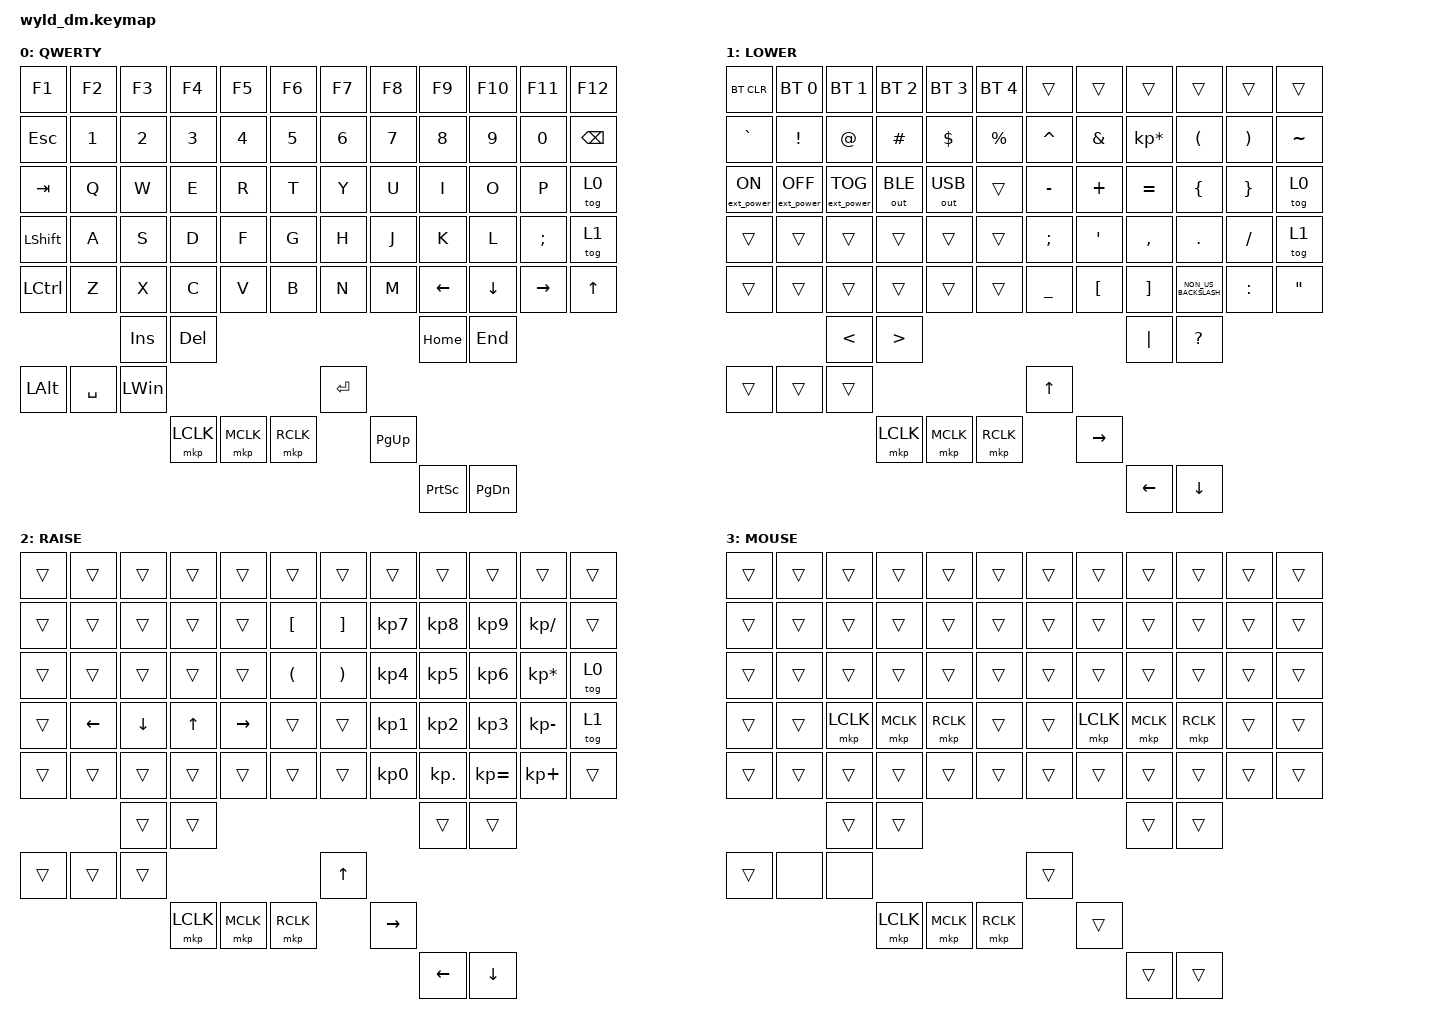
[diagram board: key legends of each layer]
/*
 * Copyright (c) 2020 The ZMK Contributors
 *
 * SPDX-License-Identifier: MIT
 */
//#include <dt-bindings/led/led.h>

#include <behaviors/mouse_keys.dtsi>
#include <behaviors.dtsi>
#include <dt-bindings/zmk/bt.h>
#include <dt-bindings/zmk/ext_power.h>
#include <dt-bindings/zmk/keys.h>
#include <dt-bindings/zmk/mouse.h>
#include <dt-bindings/zmk/outputs.h>

//#include <dt-bindings/zmk/rgb.h>
// triggering build

#define QWERTY 0
#define LOWER 1
#define RAISE 2
#define MOUSE 3

/ {
    keymap {
        compatible = "zmk,keymap";

        default_layer {
            display-name = "QWERTY";
            bindings = <
&kp F1          &kp F2     &kp F3        &kp F4      &kp F5     &kp F6             &kp F7     &kp F8       &kp F9           &kp F10        &kp F11    &kp F12
&kp ESCAPE      &kp N1     &kp N2        &kp N3      &kp N4     &kp N5             &kp N6     &kp N7       &kp N8           &kp N9         &kp N0     &kp BACKSPACE
&kp TAB         &kp Q      &kp W         &kp E       &kp R      &kp T              &kp Y      &kp U        &kp I            &kp O          &kp P      &tog 0
&kp LEFT_SHIFT  &kp A      &kp S         &kp D       &kp F      &kp G              &kp H      &kp J        &kp K            &kp L          &kp SEMI   &tog 1
&kp LCTRL       &kp Z      &kp X         &kp C       &kp V      &kp B              &kp N      &kp M        &kp LEFT         &kp DOWN       &kp RIGHT  &kp UP_ARROW
                           &kp INSERT    &kp DELETE                                                        &kp HOME         &kp END
&kp LEFT_ALT    &kp SPACE  &kp LEFT_WIN                                            &kp ENTER
                                         &mkp LCLK   &mkp MCLK  &mkp RCLK                     &kp PAGE_UP
                                                                                                           &kp PRINTSCREEN  &kp PAGE_DOWN
            >;
        };

        lower_layer {
            display-name = "LOWER";
            bindings = <
&bt BT_CLR        &bt BT_SEL 0       &bt BT_SEL 1       &bt BT_SEL 2      &bt BT_SEL 3  &bt BT_SEL 4          &trans          &trans            &trans             &trans                &trans     &trans
&kp GRAVE         &kp EXCLAMATION    &kp AT_SIGN        &kp HASH          &kp DOLLAR    &kp PERCENT           &kp CARET       &kp AMPS          &kp KP_MULTIPLY    &kp LPAR              &kp RPAR   &kp TILDE
&ext_power EP_ON  &ext_power EP_OFF  &ext_power EP_TOG  &out OUT_BLE      &out OUT_USB  &trans                &kp MINUS       &kp PLUS          &kp EQUAL          &kp LBRC              &kp RBRC   &tog 0
&trans            &trans             &trans             &trans            &trans        &trans                &kp SEMICOLON   &kp SQT           &kp COMMA          &kp PERIOD            &kp SLASH  &tog 1
&trans            &trans             &trans             &trans            &trans        &trans                &kp UNDERSCORE  &kp LEFT_BRACKET  &kp RIGHT_BRACKET  &kp NON_US_BACKSLASH  &kp COLON  &kp DOUBLE_QUOTES
                                     &kp LESS_THAN      &kp GREATER_THAN                                                                        &kp PIPE           &kp QUESTION
&trans            &trans             &trans                                                                   &kp UP_ARROW
                                                        &mkp LCLK         &mkp MCLK     &mkp RCLK                             &kp RIGHT
                                                                                                                                                &kp LEFT           &kp DOWN
            >;
        };

        raise_layer {
            display-name = "RAISE";
            bindings = <
&trans  &trans    &trans    &trans     &trans     &trans             &trans        &trans     &trans      &trans        &trans           &trans
&trans  &trans    &trans    &trans     &trans     &kp LBKT           &kp RBKT      &kp KP_N7  &kp KP_N8   &kp KP_N9     &kp KP_DIVIDE    &trans
&trans  &trans    &trans    &trans     &trans     &kp LPAR           &kp RPAR      &kp KP_N4  &kp KP_N5   &kp KP_N6     &kp KP_MULTIPLY  &tog 0
&trans  &kp LEFT  &kp DOWN  &kp UP     &kp RIGHT  &trans             &trans        &kp KP_N1  &kp KP_N2   &kp KP_N3     &kp KP_MINUS     &tog 1
&trans  &trans    &trans    &trans     &trans     &trans             &trans        &kp KP_N0  &kp KP_DOT  &kp KP_EQUAL  &kp KP_PLUS      &trans
                  &trans    &trans                                                            &trans      &trans
&trans  &trans    &trans                                             &kp UP_ARROW
                            &mkp LCLK  &mkp MCLK  &mkp RCLK                        &kp RIGHT
                                                                                              &kp LEFT    &kp DOWN
            >;
        };

        mouse_layer {
            display-name = "MOUSE";
            bindings = <
&trans  &trans  &trans     &trans     &trans     &trans             &trans  &trans     &trans     &trans     &trans  &trans
&trans  &trans  &trans     &trans     &trans     &trans             &trans  &trans     &trans     &trans     &trans  &trans
&trans  &trans  &trans     &trans     &trans     &trans             &trans  &trans     &trans     &trans     &trans  &trans
&trans  &trans  &mkp LCLK  &mkp MCLK  &mkp RCLK  &trans             &trans  &mkp LCLK  &mkp MCLK  &mkp RCLK  &trans  &trans
&trans  &trans  &trans     &trans     &trans     &trans             &trans  &trans     &trans     &trans     &trans  &trans
                &trans     &trans                                                      &trans     &trans
&trans  &none   &none                                               &trans
                           &mkp LCLK  &mkp MCLK  &mkp RCLK                  &trans
                                                                                       &trans     &trans
            >;
        };
    };
};
